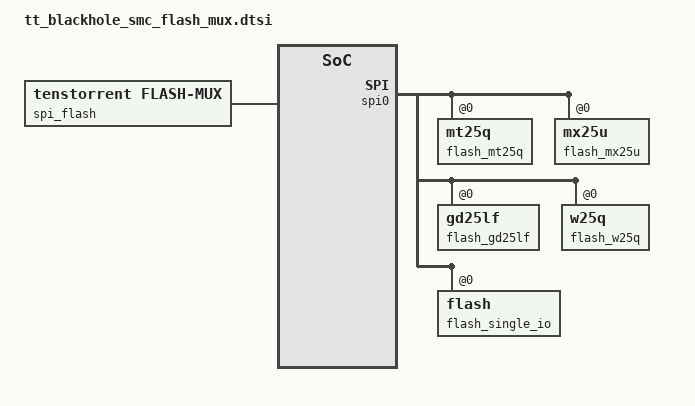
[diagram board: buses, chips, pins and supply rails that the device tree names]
/*
 * Copyright (c) 2026 Tenstorrent AI ULC
 *
 * SPDX-License-Identifier: Apache-2.0
 */

/*
 * Second-source flash support, for board revisions that fit parts other
 * than the MT25Q. Replaces the spi_flash chip node with one candidate
 * configuration per supported chip and a mux that selects among them at
 * boot. Include from a board revision overlay, before any partition
 * adjustments.
 */

/delete-node/ &spi_flash;

/* Properties common to every flash candidate below. All describe the same
 * physical chip on CS 0.
 *
 * Programming has experimentally been reliable up to 17 MHz, use 15 to be
 * safe. Reading can operate at higher frequencies: reliable up to 50 MHz,
 * use 40 to be safe.
 */
#define TT_SPI_FLASH_COMMON \
	compatible = "jedec,mspi-nor"; \
	reg = <0>; \
	status = "okay"; \
	size = <DT_SIZE_M(512)>; \
	mspi-max-frequency = <DT_FREQ_M(15)>; \
	read-frequency = <DT_FREQ_M(40)>; \
	mspi-data-rate = "MSPI_DATA_RATE_SINGLE"; \
	use-4byte-addressing; \
	mspi-endian = "MSPI_BIG_ENDIAN"; \
	transfer-timeout = <100>;

&spi0 {
	/* The flash candidates below are distinct devices for the same chip;
	 * reconfigure the controller whenever a different one accesses it.
	 */
	software-multiperipheral;

	/* One candidate configuration per supported flash chip. All probe
	 * at boot; the driver's jedec-id check fails initialization for
	 * every candidate but the one matching the fitted chip, and the
	 * spi_flash mux then selects the first that succeeded.
	 * flash_single_io omits jedec-id and so accepts any chip, as a slow
	 * universal fallback that keeps an unrecognized chip readable and
	 * reflashable.
	 */
	flash_mt25q: mt25q@0 {
		TT_SPI_FLASH_COMMON
		jedec-id = [20 bb 20]; /* Micron MT25QU512ABB */
		mspi-io-mode = "MSPI_IO_MODE_QUAD_1_4_4";
		quad-enable-requirements = "NONE";
		read-command = <0xec>;
		rx-dummy = <10>;
		write-command = <0x3e>; /* 1-4-4 extended quad input page program */
	};

	flash_mx25u: mx25u@0 {
		TT_SPI_FLASH_COMMON
		jedec-id = [c2 25 3a]; /* Macronix MX25U51245G */
		mspi-io-mode = "MSPI_IO_MODE_QUAD_1_4_4";
		/* Quad commands are ignored unless the non-volatile QE bit
		 * is set; it is written on first boot and only read
		 * thereafter.
		 */
		quad-enable-requirements = "S1B6";
		read-command = <0xec>;
		/* Fixed 6 cycles between address and data: a mode byte in
		 * the first 2, then 4 dummy cycles.
		 */
		rx-mode-cycles = <2>;
		rx-dummy = <4>;
		write-command = <0x3e>;
	};

	flash_gd25lf: gd25lf@0 {
		TT_SPI_FLASH_COMMON
		jedec-id = [c8 63 1a]; /* GigaDevice GD25LF512MF */
		mspi-io-mode = "MSPI_IO_MODE_QUAD_1_4_4";
		quad-enable-requirements = "NONE"; /* no QE bit */
		read-command = <0xec>;
		/* Factory-default read latency (DC=0 in SR3): a mode byte in
		 * the first 2 cycles, then 4 dummy cycles. A chip whose
		 * non-volatile DC bits were reconfigured for 8 or 10 cycles
		 * is not supported.
		 */
		rx-mode-cycles = <2>;
		rx-dummy = <4>;
		/* No 3Eh (1-4-4) page program; use 34h (1-1-4). Only the
		 * address phase is slower; page program time dominates.
		 */
		write-command = <0x34>;
		write-io-mode = "MSPI_IO_MODE_QUAD_1_1_4";
	};

	flash_w25q: w25q@0 {
		TT_SPI_FLASH_COMMON
		jedec-id = [ef 60 20]; /* Winbond W25Q51RW-Q/-N, W25Q512NW-IQ/IN */
		mspi-io-mode = "MSPI_IO_MODE_QUAD_1_4_4";
		/* QE is non-volatile and factory-set on the supported
		 * variants; the driver repairs a part that arrives with it
		 * cleared.
		 */
		quad-enable-requirements = "S2B1v6";
		read-command = <0xec>;
		/* A mode byte in the first 2 cycles, then 4 dummy cycles */
		rx-mode-cycles = <2>;
		rx-dummy = <4>;
		write-command = <0x34>; /* no 3Eh (1-4-4); 34h (1-1-4) */
		write-io-mode = "MSPI_IO_MODE_QUAD_1_1_4";
	};

	flash_single_io: flash@0 {
		TT_SPI_FLASH_COMMON
		/* No jedec-id: accepts any chip. The driver defaults for
		 * single-lane 4-byte addressing are universal commands: 0Ch
		 * fast read with 8 dummy cycles, 12h page program.
		 */
		mspi-io-mode = "MSPI_IO_MODE_SINGLE";
		quad-enable-requirements = "NONE";
		rx-dummy = <8>;
	};
};

/ {
	/* Selects the first candidate that accepted the chip. Consumers
	 * access the flash through this node.
	 */
	spi_flash: flash-mux {
		compatible = "tenstorrent,flash-mux";
		status = "okay";
		flash-devices = <&flash_mt25q &flash_mx25u &flash_gd25lf
				 &flash_w25q &flash_single_io>;

		#address-cells = <1>;
		#size-cells = <1>;

		nv_flash: nv-flash@0 {
			compatible = "soc-nv-flash";
			reg = <0x0 DT_SIZE_M(512)>;
			write-block-size = <1>;
			erase-block-size = <4096>;
		};
	};
};

/* The base devicetree's partitions were deleted along with the spi_flash
 * node they lived under; recreate them under the mux.
 */
&nv_flash {
#include "tt_blackhole_fixed_partitions.dtsi"
};
